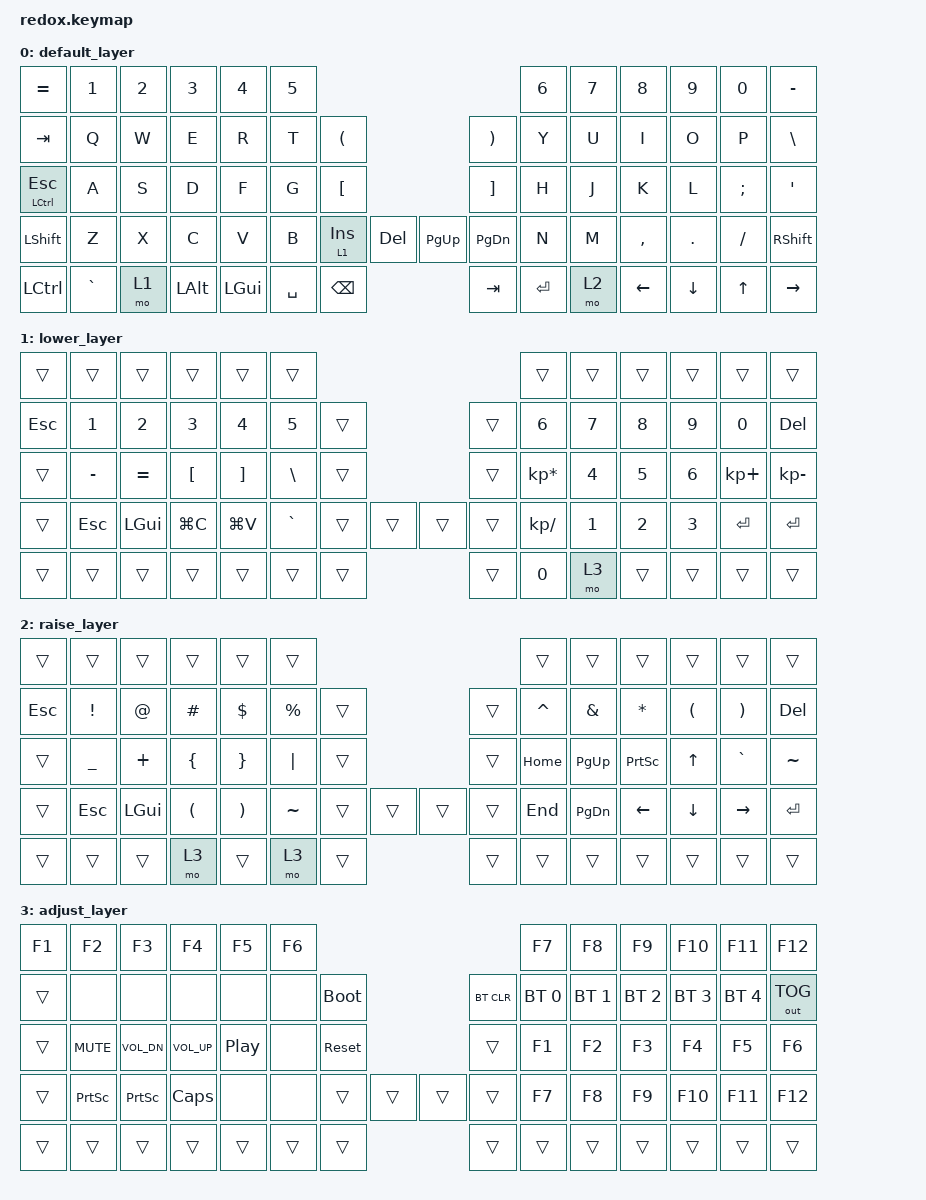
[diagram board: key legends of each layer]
/*
 * Copyright (c) 2021 The ZMK Contributors
 *
 * SPDX-License-Identifier: MIT
 */

#include <behaviors.dtsi>
#include <dt-bindings/zmk/keys.h>
#include <dt-bindings/zmk/bt.h>
#include <dt-bindings/zmk/ext_power.h>
#include <dt-bindings/zmk/outputs.h>

/ {
    keymap {
        compatible =  "zmk,keymap" ;
        default_layer {
// --------------------------------------------------------------------------------------------------------------------------------
// | ESC   |  1  |  2  |   3   |  4  |  5  |                   ---                |  6    |  7    |  8    |  9   | 0  |    BSPC   |
// | TAB   |  Q  |  W  |   E   |  R  |  T  |   (   |           ---        |  )    |  Y    |  U    |  I    |  O   | P  |     -     |
// | CTRL  |  A  |  S  |   D   |  F  |  G  |   [   |           ---        |  ]    |  H    |  J    |  K    |  L   | ;  |     '     |
// | SHIFT |  Z  |  X  |   C   |  V  |  B  | PG_UP | PG_DOWN | --- | HOME | END   |  N    |  M    |  ,    |  .   | /  | SHFT(RET) |
// | CRTL  | ALT | GUI | LOWER |    GUI    | LOWER | SPACE   | --- | DEL  | SPACE |     RAISE     | LEFT  | DOWN | UP |   RIGHT   |
            bindings = <
   &kp EQUAL     &kp N1    &kp N2   &kp N3   &kp N4   &kp N5                                            &kp N6    &kp N7   &kp N8    &kp N9   &kp N0   &kp MINUS
   &kp TAB       &kp Q     &kp W    &kp E    &kp R    &kp T     &kp LPAR                      &kp RPAR  &kp Y     &kp U    &kp I     &kp O    &kp P    &kp BSLH
   &mt LCTRL ESC &kp A     &kp S    &kp D    &kp F    &kp G     &kp LBKT                      &kp RBKT  &kp H     &kp J    &kp K     &kp L    &kp SEMI &kp SQT
   &kp LSHFT     &kp Z     &kp X    &kp C    &kp V    &kp B     &lt 1 INS &kp DEL   &kp PG_UP &kp PG_DN &kp N     &kp M    &kp COMMA &kp DOT  &kp FSLH &kp RSHFT
   &kp LCTRL     &kp GRAVE &mo 1    &kp LALT          &kp LGUI  &kp SPACE &kp BSPC  &kp TAB   &kp RET   &mo 2              &kp LEFT &kp DOWN  &kp UP   &kp RIGHT
            >;

        };

//         default_layer {
// // --------------------------------------------------------------------------------------------------------------------------------
// // | ESC   |  1  |  2  |   3   |  4  |  5  |                   ---                |  6    |  7    |  8    |  9   | 0  |    BSPC   |
// // | TAB   |  Q  |  W  |   E   |  R  |  T  |   (   |           ---        |  )    |  Y    |  U    |  I    |  O   | P  |     -     |
// // | CTRL  |  A  |  S  |   D   |  F  |  G  |   [   |           ---        |  ]    |  H    |  J    |  K    |  L   | ;  |     '     |
// // | SHIFT |  Z  |  X  |   C   |  V  |  B  | PG_UP | PG_DOWN | --- | HOME | END   |  N    |  M    |  ,    |  .   | /  | SHFT(RET) |
// // | CRTL  | ALT | GUI | LOWER |    GUI    | LOWER | SPACE   | --- | DEL  | SPACE |     RAISE     | LEFT  | DOWN | UP |   RIGHT   |
//             bindings = <
//    &kp EQUAL     &kp N1    &kp N2   &kp N3   &kp N4   &kp N5                                           &kp N6    &kp N7 &kp N8     &kp N9    &kp N0   &kp MINUS
//    &kp TAB       &kp Q     &kp W    &kp E    &kp R    &kp T     &kp LPAR                     &kp RPAR  &kp Y     &kp U  &kp I      &kp O     &kp P    &kp BLSH
//    &kp ESC       &kp A     &kp S    &kp D    &kp F    &kp G     &kp LBKT                     &kp RBKT  &kp H     &kp J  &kp K      &kp L     &kp SEMI &kp SQT
//    &kp LSHFT     &kp Z     &kp X    &kp C    &kp V    &kp B     &kp INS &kp DEL    &kp PG_UP &kp PG_DN &kp N     &kp M  &kp COMMA  &kp DOT   &kp FSLH &kp RSHFT
//    &kp LCTRL     &kp GRAVE &mo 2    &kp LALT &kp LGUI &kp SPACE &kp BSPC                     &kp TAB   &kp RET   &mo 1  &kp LEFT   &kp DOWN  &kp UP   &kp RIGHT
//             >;
//
//         };
        lower_layer {
// --------------------------------------------------------------------------------------------------------------------------
// | ESC   |  1  |  2  |   3   |   4   |  5  |                   ---              |  6  |  7  |   8  |  9   |  0  |  DEL  |
// | ESC   |  1  |  2  |   3   |   4   |  5  |   (   |           ---        |  )  |  6  |  7  |   8  |  9   |  0  |  DEL  |
// | CTRL  |  -  |  =  |   [   |   ]   |  \  |   [   |           ---        |  ]  |  *  |  4  |   5  |  6   |  +  |   -   |
// | SHIFT | ESC | GUI | COPY  | PASTE |     | PG_UP | PG_DOWN | --- | HOME | END |  \  |  1  |   2  |  3   | RET |  RET  |
// | CRTL  | ALT | GUI | LOWER |     GUI     | LOWER | SPACE   | --- | DEL  |  0  |    RAISE  | LEFT | DOWN | UP  | RIGHT |
            bindings = <
   &trans  &trans    &trans    &trans    &trans    &trans                                &trans          &trans    &trans    &trans    &trans      &trans
   &kp ESC &kp N1    &kp N2    &kp N3    &kp N4    &kp N5    &trans               &trans &kp N6          &kp N7    &kp N8    &kp N9    &kp N0      &kp DEL
   &trans  &kp MINUS &kp EQUAL &kp LBKT  &kp RBKT  &kp BSLH  &trans               &trans &kp KP_MULTIPLY &kp N4    &kp N5    &kp N6    &kp KP_PLUS &kp KP_MINUS
   &trans  &kp ESC   &kp LGUI  &kp LG(C) &kp LG(V) &kp GRAVE &trans &trans &trans &trans &kp KP_DIVIDE   &kp N1    &kp N2    &kp N3    &kp RET     &kp RET
   &trans  &trans    &trans    &trans          &trans        &trans &trans &trans &kp N0          &mo 3            &trans    &trans    &trans      &trans
            >;
        };

        raise_layer {
// ----------------------------------------------------------------------------------------------------------------------------
// | ESC   |  1  |  2  |   3   |  4  |  5  |                   ---                |  6   |  7   |  8   |  9   |  0    |  DEL  |
// | ESC   |  !  |  @  |   #   |  $  |  %  |   (   |           ---        |  )    |  ^   |  &   |  *   |  (   |  )    |  DEL  |
// | CTRL  |  _  |  +  |   {   |  }  | "|" |   [   |           ---        |  ]    | HOME | PGUP | PRSC | UP   |  `    |   ~   |
// | SHIFT | ESC | GUI |   (   |  )  |     | PG_UP | PG_DOWN | --- | HOME | END   | END  | PGDN | LEFT | DOWN | RIGHT |  RET  |
// | CRTL  | ALT | GUI | LOWER |    GUI    | LOWER | SPACE   | --- | DEL  | SPACE |    RAISE    | LEFT | DOWN | UP    | RIGHT |
            bindings = <
   &trans  &trans    &trans   &trans   &trans   &trans                                &trans    &trans    &trans    &trans   &trans    &trans
   &kp ESC &kp EXCL  &kp AT   &kp HASH &kp DLLR &kp PRCNT &trans               &trans &kp CARET &kp AMPS  &kp ASTRK &kp LPAR &kp RPAR  &kp DEL
   &trans  &kp UNDER &kp PLUS &kp LBRC &kp RBRC &kp PIPE  &trans               &trans &kp HOME  &kp PG_UP &kp PSCRN &kp UP   &kp GRAVE &kp TILDE
   &trans  &kp ESC   &kp LGUI &kp LPAR &kp RPAR &kp TILDE &trans &trans &trans &trans &kp END   &kp PG_DN &kp LEFT  &kp DOWN &kp RIGHT &kp RET
   &trans  &trans    &trans   &mo 3         &trans        &mo 3  &trans &trans &trans        &trans       &trans    &trans   &trans    &trans
            >;
        };

        adjust_layer {
// -----------------------------------------------------------------------------------------
// |  F1   |  F2   |    F3    |    F4     |     F5     | F6 |                   ---                | F7  | F8  |  F9  |  F10 | F11 | F12        |
// | TAB   |       |          |           |            |    | BOOTL |           ---        |  )    | BT1 | BT2 |  BT3 |  BT4 | BT5 | OUTPUT TGL |
// | CTRL  | MUTE  |  Vol Dn  |  Vol Up   | Play/Pause |    | RESET |           ---        |  ]    | F1  | F2  |  F3  |  F4  | F5  | F6         |
// | SHIFT | PSCRN |  PSCRN   |   CAPS    |            |    | PG_UP | PG_DOWN | --- | HOME | END   | F7  | F8  |  F9  |  F10 | F11 | F12        |
// | CRTL  | ALT   |  GUI     |   LOWER   |      GUI        | LOWER | SPACE   | --- | DEL  | SPACE |   RAISE   | LEFT | DOWN | UP  |   RIGHT    |
                        bindings = <
   &kp F1  &kp F2     &kp F3       &kp F4       &kp F5           &kp F6                                 &kp F7       &kp F8       &kp F9       &kp F10      &kp F11       &kp F12
   &trans  &none      &none        &none        &none            &none  &bootloader          &bt BT_CLR &bt BT_SEL 0 &bt BT_SEL 1 &bt BT_SEL 2 &bt BT_SEL 3 &bt BT_SEL 4  &out OUT_TOG
   &trans  &kp K_MUTE &kp C_VOL_DN &kp C_VOL_UP &kp C_PLAY_PAUSE &none  &sys_reset               &trans     &kp F1       &kp F2       &kp F3       &kp F4       &kp F5        &kp F6
   &trans  &kp PSCRN  &kp PSCRN    &kp CLCK     &none            &none  &trans &trans &trans &trans     &kp F7       &kp F8       &kp F9       &kp F10      &kp F11       &kp F12
   &trans  &trans     &trans       &trans              &trans           &trans &trans &trans &trans          &trans           &trans       &trans       &trans        &trans
            >;
        };

//         lower_layer {
// // --------------------------------------------------------------------------------------------------------------------------
// // | ESC   |  1  |  2  |   3   |   4   |  5  |                   ---              |  6  |  7  |   8  |  9   |  0  |  DEL  |
// // | ESC   |  1  |  2  |   3   |   4   |  5  |   (   |           ---        |  )  |  6  |  7  |   8  |  9   |  0  |  DEL  |
// // | CTRL  |  -  |  =  |   [   |   ]   |  \  |   [   |           ---        |  ]  |  *  |  4  |   5  |  6   |  +  |   -   |
// // | SHIFT | ESC | GUI | COPY  | PASTE |     | PG_UP | PG_DOWN | --- | HOME | END |  \  |  1  |   2  |  3   | RET |  RET  |
// // | CRTL  | ALT | GUI | LOWER |     GUI     | LOWER | SPACE   | --- | DEL  |  0  |    RAISE  | LEFT | DOWN | UP  | RIGHT |
//             bindings = <
//    &trans  &kp F1    &kp F2    &kp F3    &kp F4    &kp F5                                &kp F6          &kp F7    &kp F8    &kp F9    &kp F10     &kp F11
//    &kp ESC &kp N1    &kp N2    &kp N3    &kp N4    &kp N5    &trans               &trans &kp N6          &kp N7    &kp N8    &kp N9    &kp N0      &kp DEL
//    &trans  &kp MINUS &kp EQUAL &kp LBKT  &kp RBKT  &kp BSLH  &trans               &trans &kp KP_MULTIPLY &kp N4    &kp N5    &kp N6    &kp KP_PLUS &kp KP_MINUS
//    &trans  &kp ESC   &kp LGUI  &kp LG(C) &kp LG(V) &kp GRAVE &trans &trans &trans &trans &kp KP_DIVIDE   &kp N1    &kp N2    &kp N3    &kp RET     &kp RET
//    &trans  &trans    &trans    &trans          &trans        &trans &trans &trans &kp N0          &mo 3            &trans    &trans    &trans      &trans
//             >;
//         };
//
//         raise_layer {
// // ----------------------------------------------------------------------------------------------------------------------------
// // | ESC   |  1  |  2  |   3   |  4  |  5  |                   ---                |  6   |  7   |  8   |  9   |  0    |  DEL  |
// // | ESC   |  !  |  @  |   #   |  $  |  %  |   (   |           ---        |  )    |  ^   |  &   |  *   |  (   |  )    |  DEL  |
// // | CTRL  |  _  |  +  |   {   |  }  | "|" |   [   |           ---        |  ]    | HOME | PGUP | PRSC | UP   |  `    |   ~   |
// // | SHIFT | ESC | GUI |   (   |  )  |     | PG_UP | PG_DOWN | --- | HOME | END   | END  | PGDN | LEFT | DOWN | RIGHT |  RET  |
// // | CRTL  | ALT | GUI | LOWER |    GUI    | LOWER | SPACE   | --- | DEL  | SPACE |    RAISE    | LEFT | DOWN | UP    | RIGHT |
//             bindings = <
//    &trans  &trans    &trans   &trans   &trans   &trans                                &trans    &trans    &trans    &trans   &trans    &trans
//    &kp ESC &kp EXCL  &kp AT   &kp HASH &kp DLLR &kp PRCNT &trans               &trans &kp CARET &kp AMPS  &kp ASTRK &kp LPAR &kp RPAR  &kp DEL
//    &trans  &kp UNDER &kp PLUS &kp LBRC &kp RBRC &kp PIPE  &trans               &trans &kp HOME  &kp PG_UP &kp PSCRN &kp UP   &kp GRAVE &kp TILDE
//    &trans  &kp ESC   &kp LGUI &kp LPAR &kp RPAR &kp TILDE &trans &trans &trans &trans &kp END   &kp PG_DN &kp LEFT  &kp DOWN &kp RIGHT &kp RET
//    &trans  &trans    &trans   &mo 3         &trans        &mo 3  &trans &trans &trans        &trans       &trans    &trans   &trans    &trans
//             >;
//         };
//
//         adjust_layer {
// // -----------------------------------------------------------------------------------------
// // |  F1   |  F2   |    F3    |    F4     |     F5     | F6 |                   ---                | F7  | F8  |  F9  |  F10 | F11 | F12        |
// // | TAB   |       |          |           |            |    | BOOTL |           ---        |  )    | BT1 | BT2 |  BT3 |  BT4 | BT5 | OUTPUT TGL |
// // | CTRL  | MUTE  |  Vol Dn  |  Vol Up   | Play/Pause |    | RESET |           ---        |  ]    | F1  | F2  |  F3  |  F4  | F5  | F6         |
// // | SHIFT | PSCRN |  PSCRN   |   CAPS    |            |    | PG_UP | PG_DOWN | --- | HOME | END   | F7  | F8  |  F9  |  F10 | F11 | F12        |
// // | CRTL  | ALT   |  GUI     |   LOWER   |      GUI        | LOWER | SPACE   | --- | DEL  | SPACE |   RAISE   | LEFT | DOWN | UP  |   RIGHT    |
//                         bindings = <
//    &kp F1  &kp F2     &kp F3       &kp F4       &kp F5           &kp F6                                 &kp F7       &kp F8       &kp F9       &kp F10      &kp F11       &kp F12
//    &trans  &none      &none        &none        &none            &none  &bootloader          &bt BT_CLR &bt BT_SEL 0 &bt BT_SEL 1 &bt BT_SEL 2 &bt BT_SEL 3 &bt BT_SEL 4  &out OUT_TOG
//    &trans  &kp K_MUTE &kp C_VOL_DN &kp C_VOL_UP &kp C_PLAY_PAUSE &none  &sys_reset               &trans     &kp F1       &kp F2       &kp F3       &kp F4       &kp F5        &kp F6
//    &trans  &kp PSCRN  &kp PSCRN    &kp CLCK     &none            &none  &trans &trans &trans &trans     &kp F7       &kp F8       &kp F9       &kp F10      &kp F11       &kp F12
//    &trans  &trans     &trans       &trans              &trans           &trans &trans &trans &trans          &trans           &trans       &trans       &trans        &trans
//             >;
//         };
    };
};
